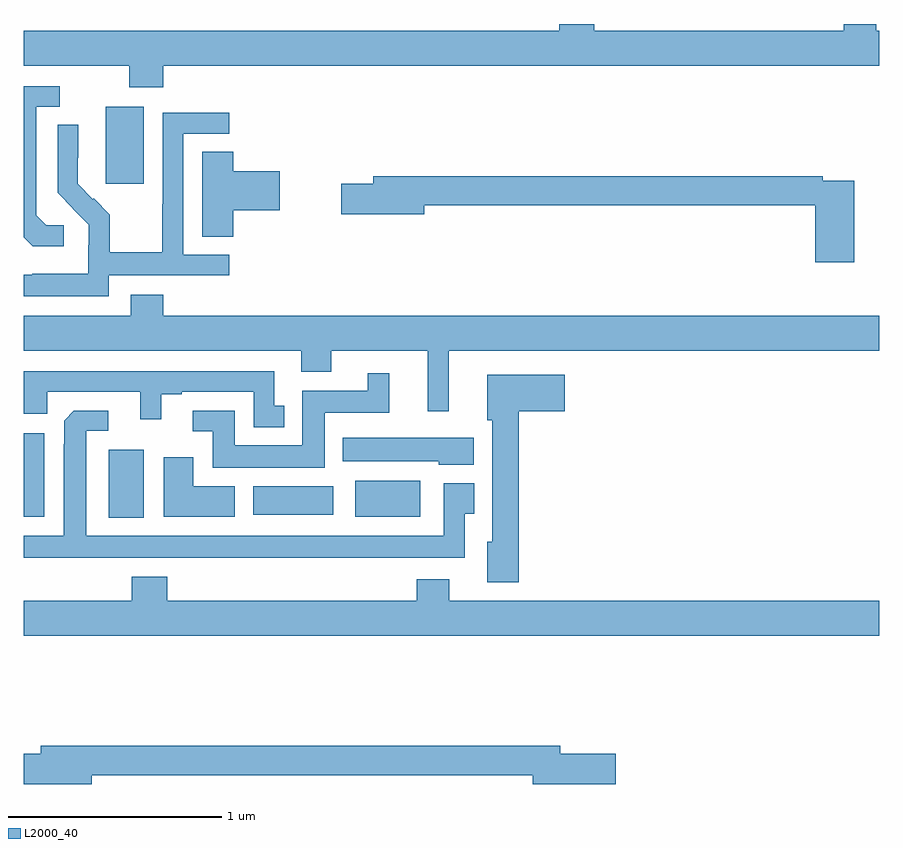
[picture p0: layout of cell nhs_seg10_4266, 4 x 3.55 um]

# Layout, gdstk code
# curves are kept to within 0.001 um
import gdstk
lib = gdstk.Library(unit=1e-6, precision=1e-09)
def R(c, l, rs):  # rectangles x0, y0, x1, y1
    for r in rs: c.add(gdstk.rectangle(r[:2], r[2:], *l))
def P(c, l, *ps):  # polygons
    for p in ps: c.add(gdstk.Polygon(p, *l))
L2000_40 = (2000, 40)

nhs_seg10_4266 = lib.new_cell('nhs_seg10_4266')
R(nhs_seg10_4266, L2000_40, [(349.397,1310.192,349.561,1310.509), (349,1310.195,349.096,1310.587), (350.549,1310.195,350.854,1310.365), (350.072,1310.204,350.446,1310.338), (349.382,1311.753,349.561,1312.114)])
P(nhs_seg10_4266, L2000_40, [(349.652,1312.304),(353,1312.304),(353,1312.468),(352.987,1312.468),(352.987,1312.5),(352.835,1312.5),(352.835,1312.468),(351.668,1312.468),(351.668,1312.5),(351.503,1312.5),(351.503,1312.468),(349,1312.468),(349,1312.304),(349.492,1312.304),(349.492,1312.205),(349.652,1312.205)],
  [(349.186,1311.558),(349.104,1311.558),(349.057,1311.605),(349.057,1312.113),(349.168,1312.113),(349.168,1312.209),(349,1312.209),(349,1311.503),(349.042,1311.461),(349.186,1311.461)],
  [(349.398,1311.324),(349.96,1311.324),(349.96,1311.42),(349.746,1311.42),(349.746,1311.987),(349.96,1311.987),(349.96,1312.086),(349.65,1312.086),(349.65,1311.656),(349.648,1311.656),(349.648,1311.433),(349.403,1311.433),(349.403,1311.607),(349.326,1311.684),(349.323,1311.681),(349.253,1311.752),(349.254,1312.028),(349.158,1312.028),(349.158,1311.71),(349.304,1311.562),(349.304,1311.465),(349.302,1311.465),(349.302,1311.331),(349.039,1311.331),(349.039,1311.327),(349,1311.327),(349,1311.227),(349.398,1311.227)],
  [(349.979,1311.629),(350.197,1311.629),(350.197,1311.812),(349.979,1311.812),(349.979,1311.902),(349.835,1311.902),(349.835,1311.505),(349.979,1311.505)],
  [(352.883,1311.768),(352.736,1311.768),(352.736,1311.788),(350.633,1311.788),(350.633,1311.752),(350.484,1311.752),(350.484,1311.61),(350.872,1311.61),(350.872,1311.652),(352.7,1311.652),(352.7,1311.387),(352.883,1311.387)],
  [(349.652,1311.235),(349.499,1311.235),(349.499,1311.136),(349,1311.136),(349,1310.972),(350.297,1310.972),(350.297,1310.873),(350.437,1310.873),(350.437,1310.972),(350.888,1310.972),(350.888,1310.688),(350.987,1310.688),(350.987,1310.972),(353,1310.972),(353,1311.136),(349.652,1311.136)],
  [(350.218,1310.715),(350.172,1310.715),(350.172,1310.877),(349,1310.877),(349,1310.678),(349.11,1310.678),(349.11,1310.781),(349.544,1310.781),(349.544,1310.652),(349.642,1310.652),(349.642,1310.769),(349.738,1310.769),(349.738,1310.781),(350.076,1310.781),(350.076,1310.615),(350.218,1310.615)],
  [(350.407,1310.681),(350.708,1310.681),(350.708,1310.866),(350.609,1310.866),(350.609,1310.785),(350.303,1310.785),(350.303,1310.53),(349.987,1310.53),(349.987,1310.691),(349.791,1310.691),(349.791,1310.595),(349.883,1310.595),(349.883,1310.426),(350.407,1310.426)],
  [(351.314,1310.69),(351.529,1310.69),(351.529,1310.86),(351.167,1310.86),(351.167,1310.646),(351.191,1310.646),(351.191,1310.079),(351.167,1310.079),(351.167,1309.889),(351.314,1309.889)],
  [(351.061,1310.209),(351.106,1310.209),(351.106,1310.353),(350.964,1310.353),(350.964,1310.107),(349.291,1310.107),(349.291,1310.598),(349.396,1310.598),(349.396,1310.691),(349.234,1310.691),(349.188,1310.645),(349.187,1310.107),(349,1310.107),(349,1310.003),(351.061,1310.003)],
  [(351.103,1310.566),(350.492,1310.566),(350.492,1310.456),(350.94,1310.456),(350.94,1310.438),(351.103,1310.438)],
  [(349.987,1310.338),(349.792,1310.338),(349.792,1310.473),(349.655,1310.473),(349.655,1310.195),(349.987,1310.195)],
  [(353,1309.804),(350.989,1309.804),(350.989,1309.903),(350.837,1309.903),(350.837,1309.804),(349.67,1309.804),(349.67,1309.915),(349.505,1309.915),(349.505,1309.804),(349,1309.804),(349,1309.64),(353,1309.64)],
  [(349.318,1308.988),(351.38,1308.988),(351.38,1308.946),(351.769,1308.946),(351.769,1309.088),(351.508,1309.088),(351.508,1309.124),(349.079,1309.124),(349.079,1309.088),(349,1309.088),(349,1308.946),(349.318,1308.946)])

lib.write_gds('nhs_seg10_4266.gds')
